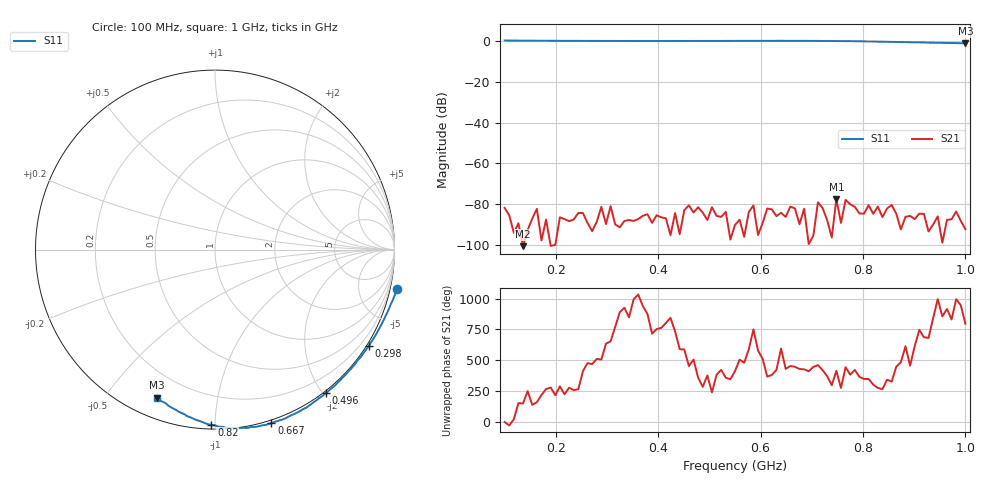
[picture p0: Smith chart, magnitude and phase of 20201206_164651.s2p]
# HZ S RI R 50
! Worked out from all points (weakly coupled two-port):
!   101 points, 100 MHz to 1 GHz, reference 50 ohm
!   highest |S21| = -77.55 dB at 748 MHz (marker M1); lowest = -100.6 dB at 136 MHz (marker M2)
!   lowest |S11| = -1.1 dB at 1 GHz (marker M3), VSWR 16.43, Z = 4.46 - j34 ohm
!   |S11| at or under -10 dB: nowhere
!   S12 and S22 are empty: the file has one direction only
!   S11 on the Smith chart (normalised r, x): 100 MHz: -1.63, -9.09; 298 MHz: -0.07, -3.48; 496 MHz: -0.03, -2.03; 667 MHz: -0.02, -1.38; 820 MHz: 0.02, -0.98; 1 GHz: 0.09, -0.68
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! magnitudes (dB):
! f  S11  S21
! 100 MHz  0.3  -81.9
! 136 MHz  0.3  -100.6
! 190 MHz  0.2  -100.5
! 253 MHz  0.1  -84.4
! 298 MHz  0.1  -89.8
! 406 MHz  0.1  -86.5
! 496 MHz  0.1  -87.8
! 550 MHz  0.1  -90.2
! 631 MHz  0.2  -85.9
! 667 MHz  0.1  -82.1
! 703 MHz  0.1  -95.5
! 712 MHz  0.1  -79.1
! 721 MHz  0.1  -81.8
! 730 MHz  0.1  -87.8
! 739 MHz  0.1  -96.4
! 748 MHz  0.0  -77.5
! 757 MHz  0.0  -89.2
! 766 MHz  0.0  -77.9
! 775 MHz  0.0  -80.1
! 820 MHz  -0.2  -84.8
! 856 MHz  -0.4  -80.4
! 1 GHz  -1.1  -92.2
